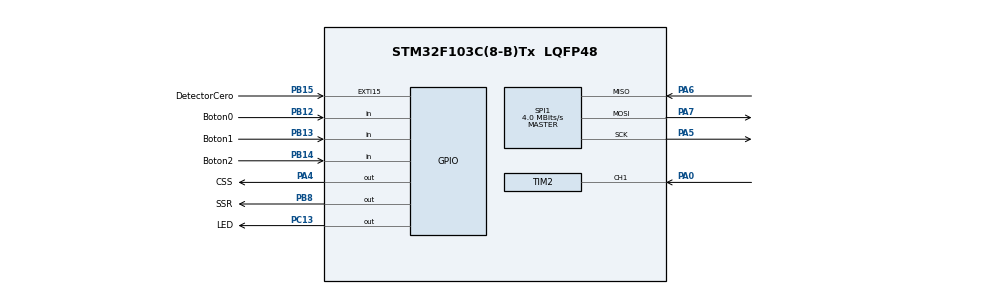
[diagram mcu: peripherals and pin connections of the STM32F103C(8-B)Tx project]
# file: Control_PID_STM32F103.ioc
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Mcu.Family=STM32F1
Mcu.Name=STM32F103C(8-B)Tx
Mcu.Package=LQFP48
NVIC.EXTI15_10_IRQn=true\:0\:0\:false\:false\:true\:true\:true
NVIC.PriorityGroup=NVIC_PRIORITYGROUP_4
NVIC.TIM2_IRQn=true\:0\:0\:false\:false\:true\:true\:true
PA0-WKUP.Signal=S_TIM2_CH1_ETR
PA13.Mode=Serial_Wire
PA13.Signal=SYS_JTMS-SWDIO
PA14.Mode=Serial_Wire
PA14.Signal=SYS_JTCK-SWCLK
PA4.GPIO_Label=CSS
PA4.GPIO_PuPd=GPIO_NOPULL
PA4.GPIO_Speed=GPIO_SPEED_FREQ_LOW
PA4.PinState=GPIO_PIN_SET
PA4.Signal=GPIO_Output
PA5.Mode=Full_Duplex_Master
PA5.Signal=SPI1_SCK
PA6.Mode=Full_Duplex_Master
PA6.Signal=SPI1_MISO
PA7.Mode=Full_Duplex_Master
PA7.Signal=SPI1_MOSI
PB12.GPIO_Label=Boton0
PB12.GPIO_PuPd=GPIO_PULLUP
PB12.Signal=GPIO_Input
PB13.GPIO_Label=Boton1
PB13.GPIO_PuPd=GPIO_PULLUP
PB13.Signal=GPIO_Input
PB14.GPIO_Label=Boton2
PB14.GPIO_PuPd=GPIO_PULLUP
PB14.Signal=GPIO_Input
PB15.GPIO_Label=DetectorCero
PB15.GPIO_ModeDefaultEXTI=GPIO_MODE_IT_RISING
PB15.Signal=GPXTI15
PB8.GPIO_Label=SSR
PB8.GPIO_Speed=GPIO_SPEED_FREQ_HIGH
PB8.Signal=GPIO_Output
PC13-TAMPER-RTC.GPIO_Label=LED
PC13-TAMPER-RTC.GPIO_Speed=GPIO_SPEED_FREQ_LOW
PC13-TAMPER-RTC.PinState=GPIO_PIN_SET
PC13-TAMPER-RTC.Signal=GPIO_Output
PD0-OSC_IN.Mode=HSE-External-Oscillator
PD0-OSC_IN.Signal=RCC_OSC_IN
PD1-OSC_OUT.Mode=HSE-External-Oscillator
PD1-OSC_OUT.Signal=RCC_OSC_OUT
ProjectManager.HeapSize=0x200
ProjectManager.StackSize=0x400
ProjectManager.TargetToolchain=STM32CubeIDE
RCC.APB1Freq_Value=8000000
RCC.APB2Freq_Value=8000000
SH.S_TIM2_CH1_ETR.0=TIM2_CH1,Input_Capture1_from_TI1
SPI1.CalculateBaudRate=4.0 MBits/s
SPI1.Direction=SPI_DIRECTION_2LINES
SPI1.Mode=SPI_MODE_MASTER
SPI1.VirtualType=VM_MASTER
TIM1.AutoReloadPreload=TIM_AUTORELOAD_PRELOAD_ENABLE
TIM1.Period=0xffff
TIM1.Prescaler=80-1
TIM2.Channel-Input_Capture1_from_TI1=TIM_CHANNEL_1
TIM2.Period=0xFFFF
VP_TIM1_VS_ClockSourceINT.Mode=Internal
VP_TIM2_VS_ClockSourceINT.Mode=Internal
board=custom

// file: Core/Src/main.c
/* USER CODE BEGIN Header */
/**
  ******************************************************************************
  * @file           : main.c
  * @brief          : Main program body
  ******************************************************************************
  * @attention
  *
  * <h2><center>&copy; Copyright (c) 2020 STMicroelectronics.
  * All rights reserved.</center></h2>
  *
  * This software component is licensed by ST under BSD 3-Clause license,
  * the "License"; You may not use this file except in compliance with the
  * License. You may obtain a copy of the License at:
  *                        opensource.org/licenses/BSD-3-Clause
  *
  ******************************************************************************
  */
/* USER CODE END Header */
#include "main.h"

/* USER CODE BEGIN Includes */
#include "../../Aplicaciones/app_Debounce.h"
#include "../../Aplicaciones/app_Delay.h"
#include "../../Aplicaciones/app_MAX7219.h"
#include "../../Aplicaciones/app_DigitalDimmer.h"
/* USER CODE END Includes */

SPI_HandleTypeDef hspi1;

TIM_HandleTypeDef htim1;
TIM_HandleTypeDef htim2;

/* USER CODE BEGIN PV */
uint8_t Bandera_DetectorCero = 1;

void HAL_GPIO_EXTI_Callback(uint16_t GPIO_pin)
{
	if(GPIO_pin == DetectorCero_Pin)
	{
		Bandera_DetectorCero = 0;
	}
	else
	{
		/* No realiza ninguna funcion */
	}
}

uint32_t IC_Value1 = 0;
uint32_t IC_Value2 = 0;
uint32_t Difference = 0;
uint32_t Frequency = 0;
uint8_t Is_First_Captured = 0;  // 0- not captured, 1- captured

void HAL_TIM_IC_CaptureCallback(TIM_HandleTypeDef *htim)
{
	if (htim->Channel == HAL_TIM_ACTIVE_CHANNEL_1)  // if interrput source is channel 1
	{
		if (Is_First_Captured==0)  // is the first value captured ?
		{
			IC_Value1 = HAL_TIM_ReadCapturedValue(htim, TIM_CHANNEL_1);  // capture the first value
			Is_First_Captured =1;  // set the first value captured as true
		}

		else if (Is_First_Captured)  // if the first is captured
		{
			IC_Value2 = HAL_TIM_ReadCapturedValue(htim, TIM_CHANNEL_1);  // capture second value

			if (IC_Value2 > IC_Value1)
			{
				Difference = IC_Value2-IC_Value1;   // calculate the difference
			}

			else if (IC_Value2 < IC_Value1)
			{
				Difference = ((0xffff-IC_Value1)+IC_Value2) +1;
			}

			else
			{
				Error_Handler();
			}

			Frequency = (2*HAL_RCC_GetPCLK2Freq())/Difference;
			Is_First_Captured = 0;  // reset the first captured
		}
	}
}

/* USER CODE END PV */

void SystemClock_Config(void);
static void MX_GPIO_Init(void);
static void MX_TIM1_Init(void);
static void MX_SPI1_Init(void);
static void MX_TIM2_Init(void);

int main(void)
{

  /* MCU Configuration--------------------------------------------------------*/

  /* Reset of all peripherals, Initializes the Flash interface and the Systick. */
  HAL_Init();

  /* Configure the system clock */
  SystemClock_Config();

  /* Initialize all configured peripherals */
  MX_GPIO_Init();
  MX_TIM1_Init();
  MX_SPI1_Init();
  MX_TIM2_Init();
  /* USER CODE BEGIN 2 */
  __HAL_SPI_ENABLE(&hspi1);
  HAL_TIM_Base_Start_IT(&htim1);
  HAL_TIM_IC_Start(&htim2, TIM_CHANNEL_1);
  HAL_TIM_Base_Start_IT(&htim2);
  app_InitMAX7219();
  app_LimpiarDisplays();
  /* USER CODE END 2 */

  /* Infinite loop */
  /* USER CODE BEGIN WHILE */
  /* Se manda la direccion del Boton */

  while (1)
  {

	  //app_Dimmer(uwFrequency);
    /* USER CODE END WHILE */

  }
}

void SystemClock_Config(void)
{
  RCC_OscInitTypeDef RCC_OscInitStruct = {0};
  RCC_ClkInitTypeDef RCC_ClkInitStruct = {0};

  /** Initializes the RCC Oscillators according to the specified parameters
  * in the RCC_OscInitTypeDef structure.
  */
  RCC_OscInitStruct.OscillatorType = RCC_OSCILLATORTYPE_HSI;
  RCC_OscInitStruct.HSIState = RCC_HSI_ON;
  RCC_OscInitStruct.HSICalibrationValue = RCC_HSICALIBRATION_DEFAULT;
  RCC_OscInitStruct.PLL.PLLState = RCC_PLL_NONE;
  if (HAL_RCC_OscConfig(&RCC_OscInitStruct) != HAL_OK)
  {
    Error_Handler();
  }
  /** Initializes the CPU, AHB and APB buses clocks
  */
  RCC_ClkInitStruct.ClockType = RCC_CLOCKTYPE_HCLK|RCC_CLOCKTYPE_SYSCLK
                              |RCC_CLOCKTYPE_PCLK1|RCC_CLOCKTYPE_PCLK2;
  RCC_ClkInitStruct.SYSCLKSource = RCC_SYSCLKSOURCE_HSI;
  RCC_ClkInitStruct.AHBCLKDivider = RCC_SYSCLK_DIV1;
  RCC_ClkInitStruct.APB1CLKDivider = RCC_HCLK_DIV1;
  RCC_ClkInitStruct.APB2CLKDivider = RCC_HCLK_DIV1;

  if (HAL_RCC_ClockConfig(&RCC_ClkInitStruct, FLASH_LATENCY_0) != HAL_OK)
  {
    Error_Handler();
  }
}

static void MX_SPI1_Init(void)
{

  /* SPI1 parameter configuration*/
  hspi1.Instance = SPI1;
  hspi1.Init.Mode = SPI_MODE_MASTER;
  hspi1.Init.Direction = SPI_DIRECTION_2LINES;
  hspi1.Init.DataSize = SPI_DATASIZE_8BIT;
  hspi1.Init.CLKPolarity = SPI_POLARITY_LOW;
  hspi1.Init.CLKPhase = SPI_PHASE_1EDGE;
  hspi1.Init.NSS = SPI_NSS_SOFT;
  hspi1.Init.BaudRatePrescaler = SPI_BAUDRATEPRESCALER_2;
  hspi1.Init.FirstBit = SPI_FIRSTBIT_MSB;
  hspi1.Init.TIMode = SPI_TIMODE_DISABLE;
  hspi1.Init.CRCCalculation = SPI_CRCCALCULATION_DISABLE;
  hspi1.Init.CRCPolynomial = 10;
  if (HAL_SPI_Init(&hspi1) != HAL_OK)
  {
    Error_Handler();
  }

}

static void MX_TIM1_Init(void)
{

  TIM_ClockConfigTypeDef sClockSourceConfig = {0};
  TIM_MasterConfigTypeDef sMasterConfig = {0};

  htim1.Instance = TIM1;
  htim1.Init.Prescaler = 80-1;
  htim1.Init.CounterMode = TIM_COUNTERMODE_UP;
  htim1.Init.Period = 0xffff;
  htim1.Init.ClockDivision = TIM_CLOCKDIVISION_DIV1;
  htim1.Init.RepetitionCounter = 0;
  htim1.Init.AutoReloadPreload = TIM_AUTORELOAD_PRELOAD_ENABLE;
  if (HAL_TIM_Base_Init(&htim1) != HAL_OK)
  {
    Error_Handler();
  }
  sClockSourceConfig.ClockSource = TIM_CLOCKSOURCE_INTERNAL;
  if (HAL_TIM_ConfigClockSource(&htim1, &sClockSourceConfig) != HAL_OK)
  {
    Error_Handler();
  }
  sMasterConfig.MasterOutputTrigger = TIM_TRGO_RESET;
  sMasterConfig.MasterSlaveMode = TIM_MASTERSLAVEMODE_DISABLE;
  if (HAL_TIMEx_MasterConfigSynchronization(&htim1, &sMasterConfig) != HAL_OK)
  {
    Error_Handler();
  }

}

static void MX_TIM2_Init(void)
{

  TIM_ClockConfigTypeDef sClockSourceConfig = {0};
  TIM_MasterConfigTypeDef sMasterConfig = {0};
  TIM_IC_InitTypeDef sConfigIC = {0};

  htim2.Instance = TIM2;
  htim2.Init.Prescaler = 0;
  htim2.Init.CounterMode = TIM_COUNTERMODE_UP;
  htim2.Init.Period = 0xFFFF;
  htim2.Init.ClockDivision = TIM_CLOCKDIVISION_DIV1;
  htim2.Init.AutoReloadPreload = TIM_AUTORELOAD_PRELOAD_DISABLE;
  if (HAL_TIM_Base_Init(&htim2) != HAL_OK)
  {
    Error_Handler();
  }
  sClockSourceConfig.ClockSource = TIM_CLOCKSOURCE_INTERNAL;
  if (HAL_TIM_ConfigClockSource(&htim2, &sClockSourceConfig) != HAL_OK)
  {
    Error_Handler();
  }
  if (HAL_TIM_IC_Init(&htim2) != HAL_OK)
  {
    Error_Handler();
  }
  sMasterConfig.MasterOutputTrigger = TIM_TRGO_RESET;
  sMasterConfig.MasterSlaveMode = TIM_MASTERSLAVEMODE_DISABLE;
  if (HAL_TIMEx_MasterConfigSynchronization(&htim2, &sMasterConfig) != HAL_OK)
  {
    Error_Handler();
  }
  sConfigIC.ICPolarity = TIM_INPUTCHANNELPOLARITY_RISING;
  sConfigIC.ICSelection = TIM_ICSELECTION_DIRECTTI;
  sConfigIC.ICPrescaler = TIM_ICPSC_DIV1;
  sConfigIC.ICFilter = 0;
  if (HAL_TIM_IC_ConfigChannel(&htim2, &sConfigIC, TIM_CHANNEL_1) != HAL_OK)
  {
    Error_Handler();
  }

}

static void MX_GPIO_Init(void)
{
  GPIO_InitTypeDef GPIO_InitStruct = {0};

  /* GPIO Ports Clock Enable */
  __HAL_RCC_GPIOC_CLK_ENABLE();
  __HAL_RCC_GPIOD_CLK_ENABLE();
  __HAL_RCC_GPIOA_CLK_ENABLE();
  __HAL_RCC_GPIOB_CLK_ENABLE();

  /*Configure GPIO pin Output Level */
  HAL_GPIO_WritePin(LED_GPIO_Port, LED_Pin, GPIO_PIN_SET);

  /*Configure GPIO pin Output Level */
  HAL_GPIO_WritePin(CSS_GPIO_Port, CSS_Pin, GPIO_PIN_SET);

  /*Configure GPIO pin Output Level */
  HAL_GPIO_WritePin(SSR_GPIO_Port, SSR_Pin, GPIO_PIN_RESET);

  /*Configure GPIO pin : LED_Pin */
  GPIO_InitStruct.Pin = LED_Pin;
  GPIO_InitStruct.Mode = GPIO_MODE_OUTPUT_PP;
  GPIO_InitStruct.Pull = GPIO_NOPULL;
  GPIO_InitStruct.Speed = GPIO_SPEED_FREQ_LOW;
  HAL_GPIO_Init(LED_GPIO_Port, &GPIO_InitStruct);

  /*Configure GPIO pin : CSS_Pin */
  GPIO_InitStruct.Pin = CSS_Pin;
  GPIO_InitStruct.Mode = GPIO_MODE_OUTPUT_PP;
  GPIO_InitStruct.Pull = GPIO_NOPULL;
  GPIO_InitStruct.Speed = GPIO_SPEED_FREQ_LOW;
  HAL_GPIO_Init(CSS_GPIO_Port, &GPIO_InitStruct);

  /*Configure GPIO pins : Boton0_Pin Boton1_Pin Boton2_Pin */
  GPIO_InitStruct.Pin = Boton0_Pin|Boton1_Pin|Boton2_Pin;
  GPIO_InitStruct.Mode = GPIO_MODE_INPUT;
  GPIO_InitStruct.Pull = GPIO_PULLUP;
  HAL_GPIO_Init(GPIOB, &GPIO_InitStruct);

  /*Configure GPIO pin : DetectorCero_Pin */
  GPIO_InitStruct.Pin = DetectorCero_Pin;
  GPIO_InitStruct.Mode = GPIO_MODE_IT_RISING;
  GPIO_InitStruct.Pull = GPIO_NOPULL;
  HAL_GPIO_Init(DetectorCero_GPIO_Port, &GPIO_InitStruct);

  /*Configure GPIO pin : SSR_Pin */
  GPIO_InitStruct.Pin = SSR_Pin;
  GPIO_InitStruct.Mode = GPIO_MODE_OUTPUT_PP;
  GPIO_InitStruct.Pull = GPIO_NOPULL;
  GPIO_InitStruct.Speed = GPIO_SPEED_FREQ_HIGH;
  HAL_GPIO_Init(SSR_GPIO_Port, &GPIO_InitStruct);

  /* EXTI interrupt init*/
  HAL_NVIC_SetPriority(EXTI15_10_IRQn, 0, 0);
  HAL_NVIC_EnableIRQ(EXTI15_10_IRQn);

}

void Error_Handler(void)
{
}

/************************ (C) COPYRIGHT STMicroelectronics *****END OF FILE****/
